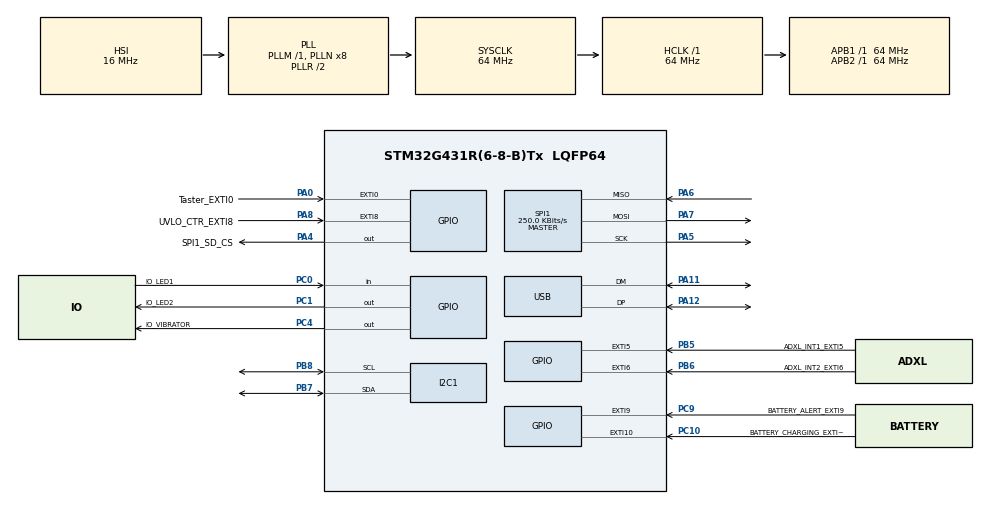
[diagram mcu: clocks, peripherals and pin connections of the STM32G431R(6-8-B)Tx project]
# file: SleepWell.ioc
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I2C1.Timing=0x10B17DB5
Mcu.Family=STM32G4
Mcu.Name=STM32G431R(6-8-B)Tx
Mcu.Package=LQFP64
NVIC.EXTI0_IRQn=true\:0\:0\:false\:false\:true\:true\:true\:true
NVIC.EXTI9_5_IRQn=true\:0\:0\:false\:false\:true\:true\:true\:true
NVIC.PriorityGroup=NVIC_PRIORITYGROUP_4
NVIC.TIM2_IRQn=true\:0\:0\:false\:false\:true\:true\:true\:true
NVIC.USB_LP_IRQn=true\:0\:0\:false\:false\:true\:false\:true\:true
PA0.GPIO_Label=Taster_EXTI0
PA0.GPIO_ModeDefaultEXTI=GPIO_MODE_IT_RISING_FALLING
PA0.Signal=GPXTI0
PA11.Mode=Device
PA11.Signal=USB_DM
PA12.Mode=Device
PA12.Signal=USB_DP
PA13.Mode=Serial_Wire
PA13.Signal=SYS_JTMS-SWDIO
PA14.Mode=Serial_Wire
PA14.Signal=SYS_JTCK-SWCLK
PA4.GPIO_Label=SPI1_SD_CS
PA4.GPIO_PuPd=GPIO_PULLUP
PA4.PinState=GPIO_PIN_SET
PA4.Signal=GPIO_Output
PA5.GPIO_PuPd=GPIO_PULLUP
PA5.Mode=Full_Duplex_Master
PA5.Signal=SPI1_SCK
PA6.Mode=Full_Duplex_Master
PA6.Signal=SPI1_MISO
PA7.GPIO_PuPd=GPIO_PULLUP
PA7.Mode=Full_Duplex_Master
PA7.Signal=SPI1_MOSI
PA8.GPIO_Label=UVLO_CTR_EXTI8
PA8.GPIO_PuPd=GPIO_NOPULL
PA8.Signal=GPXTI8
PB5.GPIO_Label=ADXL_INT1_EXTI5
PB5.Signal=GPXTI5
PB6.GPIO_Label=ADXL_INT2_EXTI6
PB6.Signal=GPXTI6
PB7.Mode=I2C
PB7.Signal=I2C1_SDA
PB8-BOOT0.GPIO_Pu=GPIO_NOPULL
PB8-BOOT0.Mode=I2C
PB8-BOOT0.Signal=I2C1_SCL
PC0.GPIO_Label=IO_LED1
PC0.Signal=GPIO_Input
PC1.GPIO_Label=IO_LED2
PC1.Signal=GPIO_Output
PC10.GPIO_Label=BATTERY_CHARGING_EXTI10
PC10.Signal=GPXTI10
PC4.GPIO_Label=IO_VIBRATOR
PC4.GPIO_PuPd=GPIO_NOPULL
PC4.Signal=GPIO_Output
PC9.GPIO_Label=BATTERY_ALERT_EXTI9
PC9.Signal=GPXTI9
PF0-OSC_IN.Mode=HSE-External-Oscillator
PF0-OSC_IN.Signal=RCC_OSC_IN
PF1-OSC_OUT.Mode=HSE-External-Oscillator
PF1-OSC_OUT.Signal=RCC_OSC_OUT
ProjectManager.HeapSize=0x200
ProjectManager.StackSize=0x400
ProjectManager.TargetToolchain=CMake
RCC.ADC12Freq_Value=64000000
RCC.AHBFreq_Value=64000000
RCC.APB1Freq_Value=64000000
RCC.APB1TimFreq_Value=64000000
RCC.APB2Freq_Value=64000000
RCC.APB2TimFreq_Value=64000000
RCC.CK48CLockSelection=RCC_USBCLKSOURCE_HSI48
RCC.CortexFreq_Value=64000000
RCC.EXTERNAL_CLOCK_VALUE=12288000
RCC.HCLKFreq_Value=64000000
RCC.HSE_VALUE=8000000
RCC.HSI48_VALUE=48000000
RCC.HSI_VALUE=16000000
RCC.LSE_VALUE=32768
RCC.PLLQ=RCC_PLLQ_DIV4
RCC.SYSCLKFreq_VALUE=64000000
RCC.SYSCLKSource=RCC_SYSCLKSOURCE_PLLCLK
RCC.USBFreq_Value=48000000
RCC.VCOOutputFreq_Value=128000000
RTC.Date=8
RTC.Format=RTC_FORMAT_BIN
RTC.Month=RTC_MONTH_APRIL
RTC.WeekDay=RTC_WEEKDAY_TUESDAY
RTC.Year=25
SPI1.BaudRatePrescaler=SPI_BAUDRATEPRESCALER_256
SPI1.CalculateBaudRate=250.0 KBits/s
SPI1.DataSize=SPI_DATASIZE_8BIT
SPI1.Direction=SPI_DIRECTION_2LINES
SPI1.Mode=SPI_MODE_MASTER
SPI1.VirtualType=VM_MASTER
TIM2.AutoReloadPreload=TIM_AUTORELOAD_PRELOAD_ENABLE
TIM2.ClockDivision=TIM_CLOCKDIVISION_DIV2
TIM2.PeriodNoDither=2559
TIM2.Prescaler=4999
USB_DEVICE.CLASS_NAME_FS=MSC
USB_DEVICE.VirtualMode=Msc
USB_DEVICE.VirtualModeFS=Msc_FS
VP_FATFS_VS_Generic.Mode=User_defined
VP_RTC_VS_RTC_Activate.Mode=RTC_Enabled
VP_RTC_VS_RTC_Calendar.Mode=RTC_Calendar
VP_SYS_VS_DBSignals.Mode=DisableDeadBatterySignals
VP_TIM2_VS_ClockSourceINT.Mode=Internal
VP_USB_DEVICE_VS_USB_DEVICE_MSC_FS.Mode=MSC_FS
board=custom

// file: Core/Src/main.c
/* USER CODE BEGIN Header */
/**
  ******************************************************************************
  * @file           : main.c
  * @brief          : Main program body
  ******************************************************************************
  * @attention
  *
  * Copyright (c) 2025 STMicroelectronics.
  * All rights reserved.
  *
  * This software is licensed under terms that can be found in the LICENSE file
  * in the root directory of this software component.
  * If no LICENSE file comes with this software, it is provided AS-IS.
  *
  ******************************************************************************
  */
/* USER CODE END Header */
#include "main.h"
#include "app_fatfs.h"
#include "usb_device.h"

/* USER CODE BEGIN Includes */
  #include "adxl345.h"
  #include "sd_card.h"
  #include "button.h"
  #include "vibrator.h"
  #include "rtc.h"

/* USER CODE END Includes */

/* USER CODE BEGIN PM */
void myprintf(const char *fmt, ...);

/* USER CODE END PM */

I2C_HandleTypeDef hi2c1;

RTC_HandleTypeDef hrtc;

SPI_HandleTypeDef hspi1;

TIM_HandleTypeDef htim2;

/* USER CODE BEGIN PV */
static bool sleepObservation = false;
static bool prev_sleepObservation = false;

/* USER CODE END PV */

void SystemClock_Config(void);
static void MX_GPIO_Init(void);
static void MX_I2C1_Init(void);
static void MX_SPI1_Init(void);
static void MX_TIM2_Init(void);
static void MX_RTC_Init(void);

/* USER CODE BEGIN 0 */
void configurePA0ForWakeup(void) {
    // Aktivieren der GPIOA-Taktrate
    __HAL_RCC_GPIOA_CLK_ENABLE();

    // PA0 als Eingang konfigurieren
    GPIO_InitTypeDef GPIO_InitStruct = {0};
    GPIO_InitStruct.Pin = Taster_EXTI0_Pin;
    GPIO_InitStruct.Mode = GPIO_MODE_IT_RISING;
    GPIO_InitStruct.Pull = GPIO_NOPULL;
    HAL_GPIO_Init(Taster_EXTI0_GPIO_Port, &GPIO_InitStruct);

    // PA0 als Wakeup-Pin für Standby-Modus konfigurieren
    HAL_PWR_EnableWakeUpPin(PWR_WAKEUP_PIN1);  // Setze PA0 als Wakeup-Pin
}

void enterStandbyMode(void) {

  // Deaktiviere alle Interrupts, die nicht benötigt werden
    __disable_irq();
    HAL_SuspendTick();

    // Aktivieren der GPIOA-Taktrate
    __HAL_RCC_GPIOA_CLK_ENABLE();

    // PA0 als Eingang konfigurieren
    GPIO_InitTypeDef GPIO_InitStruct = {0};
    GPIO_InitStruct.Pin = Taster_EXTI0_Pin;
    GPIO_InitStruct.Mode = GPIO_MODE_IT_RISING_FALLING;
    GPIO_InitStruct.Pull = GPIO_NOPULL;
    HAL_GPIO_Init(Taster_EXTI0_GPIO_Port, &GPIO_InitStruct);

    // Enable and set EXTI line 0 interrupt priority
    HAL_NVIC_SetPriority(EXTI0_IRQn, 0, 0);
    HAL_NVIC_EnableIRQ(EXTI0_IRQn);

    // Setze den Standby-Modus
    HAL_PWR_EnterSTANDBYMode();  // System in Standby-Modus versetzen

    // Dieser Punkt wird nicht erreicht, da das System im Standby-Modus wartet, bis ein Wakeup-Ereignis auftritt
}

/* USER CODE END 0 */

int main(void)
{

  /* MCU Configuration--------------------------------------------------------*/

  /* Reset of all peripherals, Initializes the Flash interface and the Systick. */
  HAL_Init();

  /* Configure the system clock */
  SystemClock_Config();

  /* Initialize all configured peripherals */
  MX_GPIO_Init();
  MX_I2C1_Init();
  MX_SPI1_Init();
  if (MX_FATFS_Init() != APP_OK) {
    Error_Handler();
  }
  MX_USB_Device_Init();
  MX_TIM2_Init();
  MX_RTC_Init();
  /* USER CODE BEGIN 2 */
      //rtc_set_time_from_compile();
      adxl_init();
      vibrator_pwm_pulses(2,500,500);
      sd_init();

  /* USER CODE END 2 */

  /* Infinite loop */
  while (1)
  {

    /* USER CODE BEGIN 3 */
      static const uint16_t SD_UPDATE_INTERVAL_MS = 5000;
      static const uint16_t ADXL_UPDATE_INTERVAL_MS = 1000;
      static const uint16_t BUTTON_UPDATE_INTERVAL_MS = 500;
      static const uint16_t MAIN_UPDATE_INTERVAL_MS = 500;

      static const uint32_t MAX_COUNT = 5000;  // Maximale Zählergrenze (5000)
      static uint32_t main_interval_cnt = 0;  // Zähler-Variable
      static uint32_t tick_1 = 0, tick_2 = 0, tick_3 = 0;  // Zeitstempel für die Funktionen

      if (main_interval_cnt > MAX_COUNT) {
        main_interval_cnt = 500; tick_1 = 0; tick_2 = 0; tick_3 = 0;
      }

      // Button Handling
      if (main_interval_cnt - tick_1 >= BUTTON_UPDATE_INTERVAL_MS) {
        tick_1 = main_interval_cnt;
        // Button handling
        switch(button_get_state())
        {
            case NO_PRESS : {
              ;
            }
            break ;

            case SHORT_PRESS : {
              //HAL_PWR_EnterSTANDBYMode();
              //NVIC_SystemReset();
            }
            break ;

            case DOUBLE_PRESS : {
            }
            break;

            case LONG_PRESS :   {
              sleepObservation ^= 1;

              if(sleepObservation) {
                vibrator_enable();
                vibrator_pwm_pulses(1,500,500);
              } else {
                vibrator_pwm_pulses(1,1000,500);
                HAL_Delay(2000);
                vibrator_disable();
              }
            }
            break ;
        }
      }

      // ADXL345 Handling
      if (main_interval_cnt - tick_3 >= ADXL_UPDATE_INTERVAL_MS) {
        tick_3 = main_interval_cnt;

        if (sleepObservation != prev_sleepObservation) {
          if (sleepObservation) {
              adxl_enable();  // Enable ADXL if it's true
          } else {
              adxl_disable(); // Disable ADXL if it's false
          }
          // Update the previous state to the current state
          prev_sleepObservation = sleepObservation;
        } else {
          if (sleepObservation) {
            adxl_readDataFromSensor();
          }
        }
      }

      // SD-Card Handling
      if (main_interval_cnt - tick_2 >= SD_UPDATE_INTERVAL_MS) {
        tick_2 = main_interval_cnt;

        // save Accel data to SD card
        if(sleepObservation == true) {
          AccelData data;;
          adxl_getAngle(&data.pitch, &data.roll);
          adxl_getXYZ(&data.x, &data.y, &data.z);
          sd_add_data(&data);
        }
      }

      HAL_Delay (MAIN_UPDATE_INTERVAL_MS);
      main_interval_cnt+=MAIN_UPDATE_INTERVAL_MS;
  }
  /* USER CODE END 3 */
}

void SystemClock_Config(void)
{
  RCC_OscInitTypeDef RCC_OscInitStruct = {0};
  RCC_ClkInitTypeDef RCC_ClkInitStruct = {0};

  /** Configure the main internal regulator output voltage
  */
  HAL_PWREx_ControlVoltageScaling(PWR_REGULATOR_VOLTAGE_SCALE1);

  /** Initializes the RCC Oscillators according to the specified parameters
  * in the RCC_OscInitTypeDef structure.
  */
  RCC_OscInitStruct.OscillatorType = RCC_OSCILLATORTYPE_HSI|RCC_OSCILLATORTYPE_HSI48
                              |RCC_OSCILLATORTYPE_LSI;
  RCC_OscInitStruct.HSIState = RCC_HSI_ON;
  RCC_OscInitStruct.HSICalibrationValue = RCC_HSICALIBRATION_DEFAULT;
  RCC_OscInitStruct.LSIState = RCC_LSI_ON;
  RCC_OscInitStruct.HSI48State = RCC_HSI48_ON;
  RCC_OscInitStruct.PLL.PLLState = RCC_PLL_ON;
  RCC_OscInitStruct.PLL.PLLSource = RCC_PLLSOURCE_HSI;
  RCC_OscInitStruct.PLL.PLLM = RCC_PLLM_DIV1;
  RCC_OscInitStruct.PLL.PLLN = 8;
  RCC_OscInitStruct.PLL.PLLP = RCC_PLLP_DIV2;
  RCC_OscInitStruct.PLL.PLLQ = RCC_PLLQ_DIV4;
  RCC_OscInitStruct.PLL.PLLR = RCC_PLLR_DIV2;
  if (HAL_RCC_OscConfig(&RCC_OscInitStruct) != HAL_OK)
  {
    Error_Handler();
  }

  /** Initializes the CPU, AHB and APB buses clocks
  */
  RCC_ClkInitStruct.ClockType = RCC_CLOCKTYPE_HCLK|RCC_CLOCKTYPE_SYSCLK
                              |RCC_CLOCKTYPE_PCLK1|RCC_CLOCKTYPE_PCLK2;
  RCC_ClkInitStruct.SYSCLKSource = RCC_SYSCLKSOURCE_PLLCLK;
  RCC_ClkInitStruct.AHBCLKDivider = RCC_SYSCLK_DIV1;
  RCC_ClkInitStruct.APB1CLKDivider = RCC_HCLK_DIV1;
  RCC_ClkInitStruct.APB2CLKDivider = RCC_HCLK_DIV1;

  if (HAL_RCC_ClockConfig(&RCC_ClkInitStruct, FLASH_LATENCY_2) != HAL_OK)
  {
    Error_Handler();
  }
}

static void MX_I2C1_Init(void)
{

  hi2c1.Instance = I2C1;
  hi2c1.Init.Timing = 0x10B17DB5;
  hi2c1.Init.OwnAddress1 = 0;
  hi2c1.Init.AddressingMode = I2C_ADDRESSINGMODE_7BIT;
  hi2c1.Init.DualAddressMode = I2C_DUALADDRESS_DISABLE;
  hi2c1.Init.OwnAddress2 = 0;
  hi2c1.Init.OwnAddress2Masks = I2C_OA2_NOMASK;
  hi2c1.Init.GeneralCallMode = I2C_GENERALCALL_DISABLE;
  hi2c1.Init.NoStretchMode = I2C_NOSTRETCH_DISABLE;
  if (HAL_I2C_Init(&hi2c1) != HAL_OK)
  {
    Error_Handler();
  }

  /** Configure Analogue filter
  */
  if (HAL_I2CEx_ConfigAnalogFilter(&hi2c1, I2C_ANALOGFILTER_ENABLE) != HAL_OK)
  {
    Error_Handler();
  }

  /** Configure Digital filter
  */
  if (HAL_I2CEx_ConfigDigitalFilter(&hi2c1, 0) != HAL_OK)
  {
    Error_Handler();
  }

}

static void MX_RTC_Init(void)
{

  RTC_TimeTypeDef sTime = {0};
  RTC_DateTypeDef sDate = {0};

  /** Initialize RTC Only
  */
  hrtc.Instance = RTC;
  hrtc.Init.HourFormat = RTC_HOURFORMAT_24;
  hrtc.Init.AsynchPrediv = 127;
  hrtc.Init.SynchPrediv = 255;
  hrtc.Init.OutPut = RTC_OUTPUT_DISABLE;
  hrtc.Init.OutPutRemap = RTC_OUTPUT_REMAP_NONE;
  hrtc.Init.OutPutPolarity = RTC_OUTPUT_POLARITY_HIGH;
  hrtc.Init.OutPutType = RTC_OUTPUT_TYPE_OPENDRAIN;
  hrtc.Init.OutPutPullUp = RTC_OUTPUT_PULLUP_NONE;
  if (HAL_RTC_Init(&hrtc) != HAL_OK)
  {
    Error_Handler();
  }

  /** Initialize RTC and set the Time and Date
  */
  sTime.Hours = 0;
  sTime.Minutes = 0;
  sTime.Seconds = 0;
  sTime.SubSeconds = 0;
  sTime.DayLightSaving = RTC_DAYLIGHTSAVING_NONE;
  sTime.StoreOperation = RTC_STOREOPERATION_RESET;
  if (HAL_RTC_SetTime(&hrtc, &sTime, RTC_FORMAT_BIN) != HAL_OK)
  {
    Error_Handler();
  }
  sDate.WeekDay = RTC_WEEKDAY_TUESDAY;
  sDate.Month = RTC_MONTH_APRIL;
  sDate.Date = 8;
  sDate.Year = 25;

  if (HAL_RTC_SetDate(&hrtc, &sDate, RTC_FORMAT_BIN) != HAL_OK)
  {
    Error_Handler();
  }

}

static void MX_SPI1_Init(void)
{

  /* SPI1 parameter configuration*/
  hspi1.Instance = SPI1;
  hspi1.Init.Mode = SPI_MODE_MASTER;
  hspi1.Init.Direction = SPI_DIRECTION_2LINES;
  hspi1.Init.DataSize = SPI_DATASIZE_8BIT;
  hspi1.Init.CLKPolarity = SPI_POLARITY_LOW;
  hspi1.Init.CLKPhase = SPI_PHASE_1EDGE;
  hspi1.Init.NSS = SPI_NSS_SOFT;
  hspi1.Init.BaudRatePrescaler = SPI_BAUDRATEPRESCALER_256;
  hspi1.Init.FirstBit = SPI_FIRSTBIT_MSB;
  hspi1.Init.TIMode = SPI_TIMODE_DISABLE;
  hspi1.Init.CRCCalculation = SPI_CRCCALCULATION_DISABLE;
  hspi1.Init.CRCPolynomial = 7;
  hspi1.Init.CRCLength = SPI_CRC_LENGTH_DATASIZE;
  hspi1.Init.NSSPMode = SPI_NSS_PULSE_ENABLE;
  if (HAL_SPI_Init(&hspi1) != HAL_OK)
  {
    Error_Handler();
  }

}

static void MX_TIM2_Init(void)
{

  TIM_ClockConfigTypeDef sClockSourceConfig = {0};
  TIM_MasterConfigTypeDef sMasterConfig = {0};

  htim2.Instance = TIM2;
  htim2.Init.Prescaler = 4999;
  htim2.Init.CounterMode = TIM_COUNTERMODE_UP;
  htim2.Init.Period = 2559;
  htim2.Init.ClockDivision = TIM_CLOCKDIVISION_DIV2;
  htim2.Init.AutoReloadPreload = TIM_AUTORELOAD_PRELOAD_ENABLE;
  if (HAL_TIM_Base_Init(&htim2) != HAL_OK)
  {
    Error_Handler();
  }
  sClockSourceConfig.ClockSource = TIM_CLOCKSOURCE_INTERNAL;
  if (HAL_TIM_ConfigClockSource(&htim2, &sClockSourceConfig) != HAL_OK)
  {
    Error_Handler();
  }
  sMasterConfig.MasterOutputTrigger = TIM_TRGO_RESET;
  sMasterConfig.MasterSlaveMode = TIM_MASTERSLAVEMODE_DISABLE;
  if (HAL_TIMEx_MasterConfigSynchronization(&htim2, &sMasterConfig) != HAL_OK)
  {
    Error_Handler();
  }

}

static void MX_GPIO_Init(void)
{
  GPIO_InitTypeDef GPIO_InitStruct = {0};

  /* GPIO Ports Clock Enable */
  __HAL_RCC_GPIOF_CLK_ENABLE();
  __HAL_RCC_GPIOC_CLK_ENABLE();
  __HAL_RCC_GPIOA_CLK_ENABLE();
  __HAL_RCC_GPIOB_CLK_ENABLE();

  /*Configure GPIO pin Output Level */
  HAL_GPIO_WritePin(GPIOC, IO_LED2_Pin|IO_VIBRATOR_Pin, GPIO_PIN_RESET);

  /*Configure GPIO pin Output Level */
  HAL_GPIO_WritePin(SPI1_SD_CS_GPIO_Port, SPI1_SD_CS_Pin, GPIO_PIN_SET);

  /*Configure GPIO pin : IO_LED1_Pin */
  GPIO_InitStruct.Pin = IO_LED1_Pin;
  GPIO_InitStruct.Mode = GPIO_MODE_INPUT;
  GPIO_InitStruct.Pull = GPIO_NOPULL;
  HAL_GPIO_Init(IO_LED1_GPIO_Port, &GPIO_InitStruct);

  /*Configure GPIO pins : IO_LED2_Pin IO_VIBRATOR_Pin */
  GPIO_InitStruct.Pin = IO_LED2_Pin|IO_VIBRATOR_Pin;
  GPIO_InitStruct.Mode = GPIO_MODE_OUTPUT_PP;
  GPIO_InitStruct.Pull = GPIO_NOPULL;
  GPIO_InitStruct.Speed = GPIO_SPEED_FREQ_LOW;
  HAL_GPIO_Init(GPIOC, &GPIO_InitStruct);

  /*Configure GPIO pin : Taster_EXTI0_Pin */
  GPIO_InitStruct.Pin = Taster_EXTI0_Pin;
  GPIO_InitStruct.Mode = GPIO_MODE_IT_RISING_FALLING;
  GPIO_InitStruct.Pull = GPIO_NOPULL;
  HAL_GPIO_Init(Taster_EXTI0_GPIO_Port, &GPIO_InitStruct);

  /*Configure GPIO pin : SPI1_SD_CS_Pin */
  GPIO_InitStruct.Pin = SPI1_SD_CS_Pin;
  GPIO_InitStruct.Mode = GPIO_MODE_OUTPUT_PP;
  GPIO_InitStruct.Pull = GPIO_PULLUP;
  GPIO_InitStruct.Speed = GPIO_SPEED_FREQ_LOW;
  HAL_GPIO_Init(SPI1_SD_CS_GPIO_Port, &GPIO_InitStruct);

  /*Configure GPIO pins : BATTERY_ALERT_EXTI9_Pin BATTERY_CHARGING_EXTI10_Pin */
  GPIO_InitStruct.Pin = BATTERY_ALERT_EXTI9_Pin|BATTERY_CHARGING_EXTI10_Pin;
  GPIO_InitStruct.Mode = GPIO_MODE_IT_RISING;
  GPIO_InitStruct.Pull = GPIO_NOPULL;
  HAL_GPIO_Init(GPIOC, &GPIO_InitStruct);

  /*Configure GPIO pin : UVLO_CTR_EXTI8_Pin */
  GPIO_InitStruct.Pin = UVLO_CTR_EXTI8_Pin;
  GPIO_InitStruct.Mode = GPIO_MODE_IT_RISING;
  GPIO_InitStruct.Pull = GPIO_NOPULL;
  HAL_GPIO_Init(UVLO_CTR_EXTI8_GPIO_Port, &GPIO_InitStruct);

  /*Configure GPIO pins : ADXL_INT1_EXTI5_Pin ADXL_INT2_EXTI6_Pin */
  GPIO_InitStruct.Pin = ADXL_INT1_EXTI5_Pin|ADXL_INT2_EXTI6_Pin;
  GPIO_InitStruct.Mode = GPIO_MODE_IT_RISING;
  GPIO_InitStruct.Pull = GPIO_NOPULL;
  HAL_GPIO_Init(GPIOB, &GPIO_InitStruct);

  /* EXTI interrupt init*/
  HAL_NVIC_SetPriority(EXTI0_IRQn, 0, 0);
  HAL_NVIC_EnableIRQ(EXTI0_IRQn);

  HAL_NVIC_SetPriority(EXTI9_5_IRQn, 0, 0);
  HAL_NVIC_EnableIRQ(EXTI9_5_IRQn);

}

void Error_Handler(void)
{
  __disable_irq();
  while (1)
  {
  }
}
